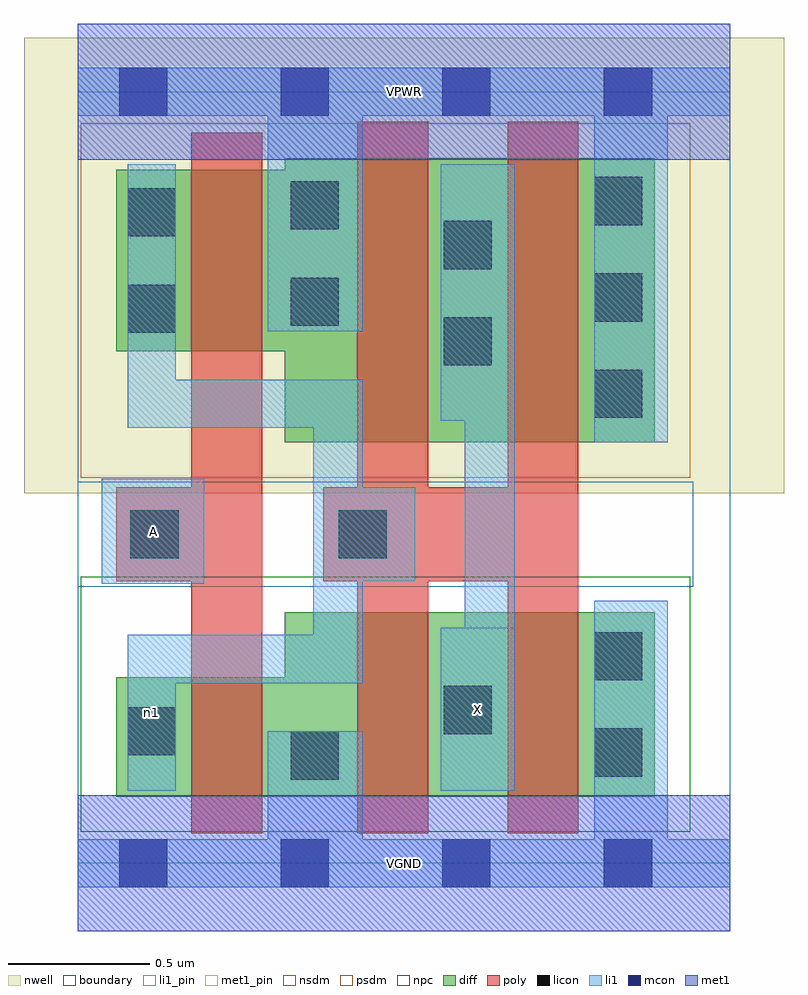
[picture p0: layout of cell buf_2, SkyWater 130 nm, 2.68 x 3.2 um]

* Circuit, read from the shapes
.subckt buf_2 A VGND VPWR X n1
XM1 VGND A n1 VSUBS sky130_fd_pr__nfet_01v8 w=0.42 l=0.25
XM2 X n1 VGND VSUBS sky130_fd_pr__nfet_01v8 w=0.65 l=0.25 m=2
XM3 VPWR A n1 n2 sky130_fd_pr__pfet_01v8 w=0.64 l=0.25
XM4 X n1 VPWR n2 sky130_fd_pr__pfet_01v8 w=1 l=0.25 m=2
.ends

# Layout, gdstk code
import gdstk
lib = gdstk.Library(unit=1e-6, precision=1e-09)
def R(c, l, rs):  # rectangles x0, y0, x1, y1
    for r in rs: c.add(gdstk.rectangle(r[:2], r[2:], *l))
def A(c, l, x, y, w, h, nx, ny, dx, dy):  # array of equal rectangles
    R(c, l, [(x+i*dx, y+j*dy, x+i*dx+w, y+j*dy+h) for i in range(nx) for j in range(ny)])
nwell = (64, 20)
diff = (65, 20)
poly = (66, 20)
licon = (66, 44)
li1_pin = (67, 16)
li1 = (67, 20)
mcon = (67, 44)
met1_pin = (68, 16)
met1 = (68, 20)
nsdm = (93, 44)
psdm = (94, 20)
npc = (95, 20)
boundary = (235, 4)

buf_2 = lib.new_cell('buf_2')
R(buf_2, nwell, [(-0.19,1.305,2.49,2.91), (0,1.305,2.3,2.91)])
R(buf_2, diff, [(0.135,0.235,2.035,0.655), (0.73,0.235,2.035,0.885), (0.73,1.485,2.035,2.485), (0.135,1.805,2.035,2.445)])
R(buf_2, poly, [(0.4,0.105,0.65,2.575), (0.985,0.105,1.235,2.615), (1.515,0.105,1.765,2.615), (0.135,0.995,0.65,1.325), (0.865,0.995,1.765,1.325)])
A(buf_2, licon, 1.82, 1.57, 0.17, 0.17, 1, 3, 0, 0.34)
R(buf_2, licon, [(0.75,0.295,0.92,0.465), (1.82,0.305,1.99,0.475), (0.175,0.38,0.345,0.55), (1.29,0.455,1.46,0.625), (1.82,0.645,1.99,0.815), (0.185,1.075,0.355,1.245), (0.92,1.075,1.09,1.245), (1.29,1.755,1.46,1.925), (0.175,1.87,0.345,2.04), (0.75,1.895,0.92,2.065), (1.29,2.095,1.46,2.265), (0.175,2.21,0.345,2.38), (0.75,2.235,0.92,2.405)])
R(buf_2, li1_pin, [(1.28,0.255,1.54,0.83), (0.085,0.985,0.445,1.355)])
R(buf_2, li1, [(0,-0.085,2.3,0.085), (0.67,-0.085,1.005,0.465), (1.82,-0.085,2.08,0.925), (0.175,0.255,0.345,0.805), (1.28,0.255,1.54,0.83), (1.365,0.255,1.54,2.465), (0.175,0.635,1.005,0.805), (0.83,0.635,1.005,1.705), (0.085,0.985,0.445,1.355), (0.83,0.995,1.19,1.325), (1.82,1.485,2.08,2.805), (0.175,1.535,1.005,1.705), (0.175,1.535,0.345,2.465), (1.28,1.56,1.54,2.465), (0.67,1.875,1.005,2.805), (0,2.635,2.3,2.805)])
A(buf_2, mcon, 0.145, -0.085, 0.17, 0.17, 4, 2, 0.57, 2.72)
R(buf_2, met1_pin, [(0,-0.24,2.3,0.24), (0,2.48,2.3,2.96)])
R(buf_2, met1, [(0,-0.24,2.3,0.24), (0,2.48,2.3,2.96)])
R(buf_2, nsdm, [(0.01,0.11,2.16,1.01)])
R(buf_2, psdm, [(0.01,1.36,2.16,2.61)])
R(buf_2, npc, [(0,0.975,2.17,1.345)])
R(buf_2, boundary, [(0,0,2.3,2.72)])
buf_2.add(gdstk.Label('A', (0.265,1.17), layer=67, texttype=5))
buf_2.add(gdstk.Label('X', (1.41,0.542), layer=67, texttype=5))
buf_2.add(gdstk.Label('n1', (0.26,0.53), layer=67, texttype=5))
buf_2.add(gdstk.Label('VPWR', (1.15,2.72), layer=68, texttype=5))
buf_2.add(gdstk.Label('VGND', (1.15,0), layer=68, texttype=5))
buf_2.add(gdstk.Label('A', (0.265,1.17), layer=67, texttype=16))
buf_2.add(gdstk.Label('X', (1.41,0.542), layer=67, texttype=16))
buf_2.add(gdstk.Label('VPWR', (1.15,2.72), layer=68, texttype=16))
buf_2.add(gdstk.Label('VGND', (1.15,0), layer=68, texttype=16))

lib.write_gds('buf_2.gds')
